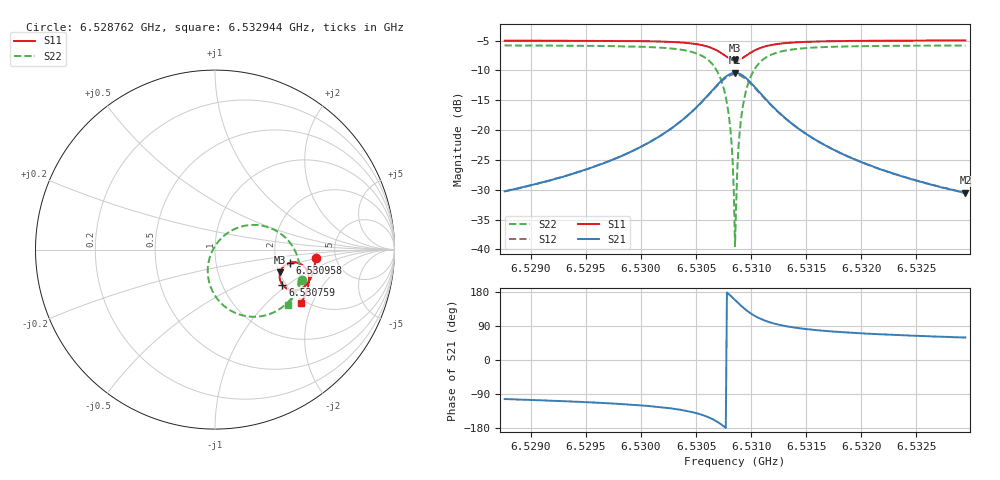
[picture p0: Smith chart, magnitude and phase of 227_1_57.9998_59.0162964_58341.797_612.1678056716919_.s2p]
#  HZ  S  RI  R  50.00
! Rohde & Schwarz Vector Network Analyzer
! Rohde-Schwarz,ZNB20-2Port,1311601062101988,3.16
! Created: UTC 3/21/2024, 1:00:23 AM
! freq[Hz]  re:S11  im:S11  re:S21  im:S21  re:S12  im:S12  re:S22  im:S22
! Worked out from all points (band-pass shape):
!   401 points, 6.528762 GHz to 6.532944 GHz, reference 50 ohm
!   highest |S21| = -10.39 dB at 6.530853 GHz (marker M1); lowest = -30.5 dB at 6.532944 GHz (marker M2)
!   |S21| within 3 dB of the highest: 6.530645 GHz to 6.531063 GHz (418.3 kHz wide, 0.00641 % of centre)
!   lowest |S11| = -8.3 dB at 6.530853 GHz (marker M3), VSWR 2.25, Z = 101 - j30.1 ohm
!   |S11| at or under -10 dB: nowhere
!   |S22| runs from -39.5 to -5.8 dB; largest |S21 - S12| = 0.012
!   S11 on the Smith chart (normalised r, x): 6.528762 GHz: 3.49, -0.49; 6.530759 GHz: 1.92, -0.91; 6.530958 GHz: 2.38, -0.42; 6.532944 GHz: 1.90, -1.66
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6.5287624e9  0.5603 -0.0481  -0.00698 -0.0299  -0.00759 -0.0298  0.4825 -0.1716
6.5294629e9  0.5511 -0.1064  -0.0161 -0.0426  -0.0172 -0.0423  0.4514 -0.2353
6.5301633e9  0.5243 -0.1762  -0.0493 -0.0731  -0.0513 -0.0717  0.37 -0.3246
6.5304038e9  0.498 -0.2066  -0.0884 -0.0924  -0.0911 -0.0894  0.2902 -0.3637
6.5305815e9  0.4549 -0.2267  -0.1556 -0.099  -0.1579 -0.0926  0.1659 -0.3694
6.5306861e9  0.4104 -0.2222  -0.2243 -0.0731  -0.2237 -0.0636  0.0504 -0.3139
6.5307592e9  0.3757 -0.1956  -0.2751 -0.0155  -0.2693 -0.00547  -0.0244 -0.2074
6.5308011e9  0.3625 -0.1682  -0.2907 0.037  -0.2819 0.0451  -0.0405 -0.1179
6.530822e9  0.36 -0.1521  -0.2913 0.0664  -0.2815 0.073  -0.0356 -0.0692
6.5308324e9  0.3602 -0.1437  -0.2895 0.0817  -0.2792 0.0873  -0.0298 -0.045
6.5308429e9  0.361 -0.1353  -0.2862 0.0966  -0.2754 0.1013  -0.0213 -0.021
6.5308533e9  0.3629 -0.127  -0.2811 0.1112  -0.2703 0.1149  -0.0105 0.0019
6.5308638e9  0.3658 -0.119  -0.2747 0.1254  -0.264 0.1281  0.00245 0.0235
6.5308742e9  0.3694 -0.1114  -0.2672 0.1387  -0.2565 0.1405  0.0176 0.0439
6.5308847e9  0.3737 -0.1041  -0.2582 0.1512  -0.2478 0.152  0.0344 0.0627
6.5309056e9  0.3844 -0.0917  -0.2376 0.1725  -0.228 0.1718  0.072 0.0938
6.5309579e9  0.417 -0.0732  -0.178 0.2041  -0.1714 0.2014  0.1758 0.1345
6.5310311e9  0.4593 -0.0728  -0.1038 0.2062  -0.1002 0.2033  0.3003 0.1231
6.5311356e9  0.4966 -0.0946  -0.04 0.1758  -0.0383 0.1741  0.403 0.056
6.5315538e9  0.5234 -0.1736  0.0151 0.0849  0.0163 0.0846  0.4724 -0.1343
6.5322542e9  0.5053 -0.2455  0.0175 0.0408  0.0182 0.0405  0.4429 -0.2494
6.5329442e9  0.4796 -0.2974  0.0152 0.0257  0.016 0.0253  0.4077 -0.3091
